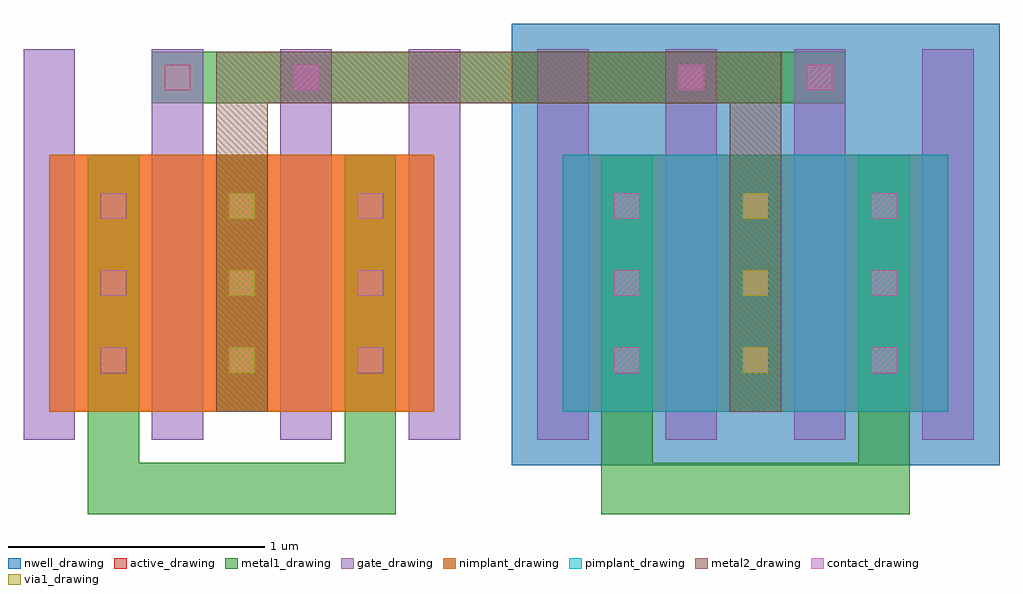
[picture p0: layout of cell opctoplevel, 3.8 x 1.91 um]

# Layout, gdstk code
import gdstk
lib = gdstk.Library(unit=1e-6, precision=1e-09)
def R(c, l, rs):  # rectangles x0, y0, x1, y1
    for r in rs: c.add(gdstk.rectangle(r[:2], r[2:], *l))
def A(c, l, x, y, w, h, nx, ny, dx, dy):  # array of equal rectangles
    R(c, l, [(x+i*dx, y+j*dy, x+i*dx+w, y+j*dy+h) for i in range(nx) for j in range(ny)])
active_drawing = (1, 0)
nwell_drawing = (3, 0)
pimplant_drawing = (4, 0)
nimplant_drawing = (5, 0)
gate_drawing = (6, 0)
contact_drawing = (7, 0)
metal1_drawing = (8, 0)
via1_drawing = (9, 0)
metal2_drawing = (10, 0)

opctoplevel = lib.new_cell('opctoplevel')
R(opctoplevel, active_drawing, [(-0.4,0,1.1,1), (1.6,0,3.1,1)])
R(opctoplevel, nwell_drawing, [(1.4,-0.21,3.3,1.51)])
R(opctoplevel, pimplant_drawing, [(1.6,0,3.1,1)])
R(opctoplevel, nimplant_drawing, [(-0.4,0,1.1,1)])
A(opctoplevel, gate_drawing, -0.5, -0.11, 0.2, 1.52, 8, 1, 0.5, 0)
A(opctoplevel, contact_drawing, -0.2, 0.15, 0.1, 0.1, 3, 3, 0.5, 0.3)
A(opctoplevel, contact_drawing, 1.8, 0.15, 0.1, 0.1, 3, 3, 0.5, 0.3)
R(opctoplevel, contact_drawing, [(0.05,1.25,0.15,1.35), (0.55,1.25,0.65,1.35), (2.05,1.25,2.15,1.35), (2.55,1.25,2.65,1.35)])
A(opctoplevel, metal1_drawing, -0.25, -0.2, 0.2, 0.2, 4, 1, 1, 0)
A(opctoplevel, metal1_drawing, -0.25, 0, 0.2, 1, 3, 1, 0.5, 0)
A(opctoplevel, metal1_drawing, 1.75, 0, 0.2, 1, 3, 1, 0.5, 0)
R(opctoplevel, metal1_drawing, [(-0.25,-0.4,0.95,-0.2), (1.75,-0.4,2.95,-0.2), (0,1.2,0.7,1.4), (0,1.2,2.7,1.4), (2,1.2,2.7,1.4)])
A(opctoplevel, via1_drawing, 0.3, 0.15, 0.1, 0.1, 1, 3, 0, 0.3)
A(opctoplevel, via1_drawing, 2.3, 0.15, 0.1, 0.1, 1, 3, 0, 0.3)
R(opctoplevel, metal2_drawing, [(0.25,0,0.45,1), (2.25,0,2.45,1), (0.25,1,0.45,1.2), (2.25,1,2.45,1.2), (0.25,1.2,0.45,1.4), (0.25,1.2,2.45,1.4), (2.25,1.2,2.45,1.4)])

lib.write_gds('opctoplevel.gds')
